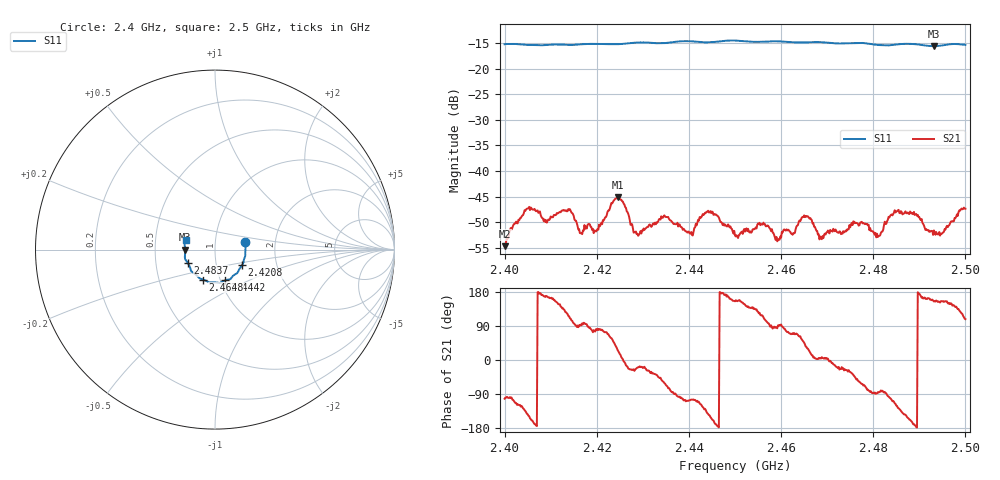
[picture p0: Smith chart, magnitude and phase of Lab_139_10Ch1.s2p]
# Hz S RI R 50
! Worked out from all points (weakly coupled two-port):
!   601 points, 2.4 GHz to 2.5 GHz, reference 50 ohm
!   highest |S21| = -45.16 dB at 2.4247 GHz (marker M1); lowest = -54.7 dB at 2.4 GHz (marker M2)
!   lowest |S11| = -15.6 dB at 2.4932 GHz (marker M3), VSWR 1.40, Z = 35.8 - j0.0883 ohm
!   |S11| at or under -10 dB: start of sweep to end of sweep
!   S12 and S22 are empty: the file has one direction only
!   S11 on the Smith chart (normalised r, x): 2.4 GHz: 1.40, +0.12; 2.4208 GHz: 1.33, -0.24; 2.4442 GHz: 1.05, -0.37; 2.4648 GHz: 0.83, -0.29; 2.4837 GHz: 0.73, -0.11; 2.5 GHz: 0.72, +0.08
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2.4e9  0.1679 0.041  -0.000387 -0.0018  0 0  0 0
2.405333e9  0.1702 0.00592  -0.00381 -0.00234  0 0  0 0
2.414167e9  0.1625 -0.0513  -0.00148 0.00397  0 0  0 0
2.416667e9  0.1589 -0.0681  -6.61e-05 0.00246  0 0  0 0
2.420833e9  0.1506 -0.0871  0.000469 0.00296  0 0  0 0
2.424667e9  0.1371 -0.106  0.00507 0.00217  0 0  0 0
2.4285e9  0.128 -0.1257  0.00236 -0.00101  0 0  0 0
2.433333e9  0.108 -0.1401  0.00229 -0.00227  0 0  0 0
2.4405e9  0.08 -0.1664  -0.000633 -0.00246  0 0  0 0
2.444167e9  0.0568 -0.1713  -0.00325 -0.00249  0 0  0 0
2.45e9  0.0245 -0.1864  -0.00213 0.000992  0 0  0 0
2.455833e9  -0.0129 -0.182  -0.00143 0.00267  0 0  0 0
2.459333e9  -0.0323 -0.1817  -5.06e-05 0.00212  0 0  0 0
2.464833e9  -0.0683 -0.1667  0.00238 0.00264  0 0  0 0
2.466667e9  -0.08 -0.1627  0.00323 0.000721  0 0  0 0
2.468667e9  -0.0885 -0.1582  0.00221 0.000153  0 0  0 0
2.476167e9  -0.1283 -0.1235  0.00213 -0.00229  0 0  0 0
2.481167e9  -0.1404 -0.0956  0.000171 -0.0023  0 0  0 0
2.483333e9  -0.1505 -0.0761  -0.000393 -0.00355  0 0  0 0
2.483667e9  -0.1524 -0.0732  -0.000659 -0.00359  0 0  0 0
2.493167e9  -0.1659 -0.0012  -0.00238 0.00113  0 0  0 0
2.5e9  -0.1625 0.0526  -0.00132 0.00408  0 0  0 0
